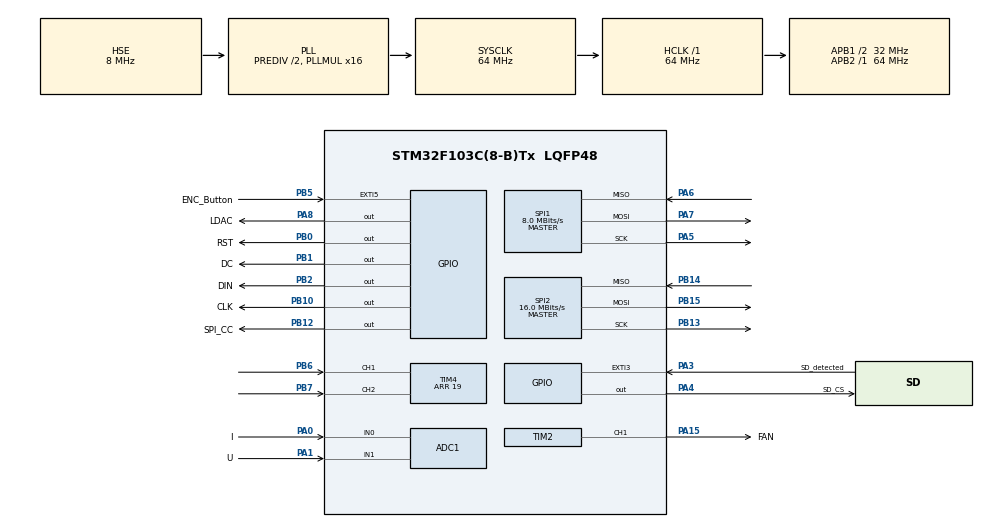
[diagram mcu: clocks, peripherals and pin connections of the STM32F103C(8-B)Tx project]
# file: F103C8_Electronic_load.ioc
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Mcu.Family=STM32F1
PB10.PinState=GPIO_PIN_SET
PA6.Mode=Full_Duplex_Master
FATFS._USE_LFN=1
PB10.GPIO_Speed=GPIO_SPEED_FREQ_HIGH
SPI1.VirtualType=VM_MASTER
SPI2.VirtualType=VM_MASTER
ADC1.ContinuousConvMode=ENABLE
PB2.GPIO_Speed=GPIO_SPEED_FREQ_HIGH
NVIC.EXTI3_IRQn=true\:0\:0\:false\:false\:true\:true\:true
VP_RTC_VS_RTC_Activate.Mode=RTC_Enabled
PB0.GPIO_Label=RST
PB13.Signal=SPI2_SCK
PB15.Signal=SPI2_MOSI
RCC.SYSCLKSource=RCC_SYSCLKSOURCE_PLLCLK
ProjectManager.StackSize=0x400
PD1-OSC_OUT.Signal=RCC_OSC_OUT
NVIC.RTC_IRQn=true\:0\:0\:false\:false\:true\:true\:true
PA15.GPIO_Label=FAN
PB0.PinState=GPIO_PIN_SET
SPI1.Direction=SPI_DIRECTION_2LINES
RCC.HCLKFreq_Value=64000000
RCC.APB2TimFreq_Value=64000000
PB6.Signal=S_TIM4_CH1
Dma.ADC1.0.Direction=DMA_PERIPH_TO_MEMORY
PB12.PinState=GPIO_PIN_SET
SPI1.CalculateBaudRate=8.0 MBits/s
TIM2.ClockDivision=TIM_CLOCKDIVISION_DIV1
Dma.ADC1.0.MemDataAlignment=DMA_MDATAALIGN_HALFWORD
RCC.AHBFreq_Value=64000000
SPI2.BaudRatePrescaler=SPI_BAUDRATEPRESCALER_2
ADC1.Channel-0\#ChannelRegularConversion=ADC_CHANNEL_0
PB2.Signal=GPIO_Output
PB3.Mode=Trace_Asynchronous_SW
RCC.PLLMUL=RCC_PLL_MUL16
PB12.GPIO_Label=SPI_CC
PB1.GPIO_Speed=GPIO_SPEED_FREQ_HIGH
PA14.Mode=Trace_Asynchronous_SW
PB14.Mode=Full_Duplex_Master
PB1.GPIO_Label=DC
Dma.ADC1.0.PeriphInc=DMA_PINC_DISABLE
NVIC.TIM2_IRQn=true\:0\:0\:false\:false\:true\:true\:true
SPI2.CalculateBaudRate=16.0 MBits/s
SH.S_TIM4_CH2.0=TIM4_CH2,Encoder_Interface
PB7.Signal=S_TIM4_CH2
PA8.Signal=GPIO_Output
NVIC.SPI2_IRQn=true\:0\:0\:false\:false\:true\:true\:true
SH.ADCx_IN0.0=ADC1_IN0,IN0
TIM2.Channel-PWM\ Generation1\ CH1=TIM_CHANNEL_1
TIM4.Period=19
ADC1.SamplingTime-0\#ChannelRegularConversion=ADC_SAMPLETIME_55CYCLES_5
Mcu.Package=LQFP48
PB1.Signal=GPIO_Output
PA6.Signal=SPI1_MISO
SPI2.Mode=SPI_MODE_MASTER
PA15.Signal=S_TIM2_CH1_ETR
TIM4.IC1Filter=6
SH.ADCx_IN1.0=ADC1_IN1,IN1
PB5.GPIO_Label=ENC_Button
SH.S_TIM4_CH1.0=TIM4_CH1,Encoder_Interface
RCC.APB1TimFreq_Value=64000000
SPI2.Direction=SPI_DIRECTION_2LINES
PB13.Mode=Full_Duplex_Master
Dma.Request0=ADC1
SPI1.BaudRatePrescaler=SPI_BAUDRATEPRESCALER_8
PA4.GPIO_Label=SD_CS
PA8.PinState=GPIO_PIN_SET
PA3.Signal=GPXTI3
PA5.Mode=Full_Duplex_Master
RCC.PLLSourceVirtual=RCC_PLLSOURCE_HSE
Dma.ADC1.0.Instance=DMA1_Channel1
ADC1.Rank-0\#ChannelRegularConversion=1
PA7.Mode=Full_Duplex_Master
PD1-OSC_OUT.Mode=HSE-External-Oscillator
TIM4.CounterMode=TIM_COUNTERMODE_UP
TIM4.IC2Filter=6
PD0-OSC_IN.Signal=RCC_OSC_IN
RCC.APB1CLKDivider=RCC_HCLK_DIV2
PA0-WKUP.GPIO_Label=I
PA0-WKUP.Signal=ADCx_IN0
PA3.GPIO_ModeDefaultEXTI=GPIO_MODE_IT_RISING_FALLING
PB0.GPIO_Speed=GPIO_SPEED_FREQ_HIGH
RCC.ADCPresc=RCC_ADCPCLK2_DIV8
PA13.Signal=SYS_JTMS-SWDIO
Dma.ADC1.0.PeriphDataAlignment=DMA_PDATAALIGN_HALFWORD
PA8.GPIO_Label=LDAC 
ProjectManager.TargetToolchain=STM32CubeIDE
PB10.GPIO_Label=CLK
Dma.ADC1.0.Mode=DMA_NORMAL
Dma.ADC1.0.Priority=DMA_PRIORITY_LOW
ADC1.Channel-1\#ChannelRegularConversion=ADC_CHANNEL_1
RCC.USBFreq_Value=64000000
PA1.Signal=ADCx_IN1
PB12.GPIO_Speed=GPIO_SPEED_FREQ_HIGH
VP_FATFS_VS_Generic.Mode=User_defined
PD0-OSC_IN.Mode=HSE-External-Oscillator
PB10.Signal=GPIO_Output
PB14.Signal=SPI2_MISO
PA5.Signal=SPI1_SCK
board=custom
PB15.Mode=Full_Duplex_Master
RCC.APB2Freq_Value=64000000
SPI1.Mode=SPI_MODE_MASTER
PA1.GPIO_Label=U
TIM2.Period=2500
ADC1.NbrOfConversion=2
PA13.Mode=Trace_Asynchronous_SW
Mcu.Name=STM32F103C(8-B)Tx
FATFS._MAX_SS=4096
PB3.Signal=SYS_JTDO-TRACESWO
PA4.Signal=GPIO_Output
ADC1.SamplingTime-1\#ChannelRegularConversion=ADC_SAMPLETIME_55CYCLES_5
RCC.SYSCLKFreq_VALUE=64000000
PB5.Signal=GPXTI5
ADC1.master=1
RCC.HSEDivPLL=RCC_HSE_PREDIV_DIV2
ADC1.Rank-1\#ChannelRegularConversion=2
SH.S_TIM2_CH1_ETR.0=TIM2_CH1,PWM Generation1 CH1
NVIC.EXTI9_5_IRQn=true\:0\:0\:false\:false\:true\:true\:true
PA14.Signal=SYS_JTCK-SWCLK
Dma.ADC1.0.MemInc=DMA_MINC_ENABLE
PB2.GPIO_Label=DIN
ProjectManager.HeapSize=0x200
NVIC.PriorityGroup=NVIC_PRIORITYGROUP_4
ADC1.NbrOfConversionFlag=1
SPI2.DataSize=SPI_DATASIZE_16BIT
NVIC.DMA1_Channel1_IRQn=true\:0\:0\:false\:false\:true\:false\:true
NVIC.TIM4_IRQn=true\:0\:0\:false\:false\:true\:true\:true
RCC.APB1Freq_Value=32000000
PB0.Signal=GPIO_Output
PB12.Signal=GPIO_Output
PA3.GPIO_Label=SD_detected
PA7.Signal=SPI1_MOSI

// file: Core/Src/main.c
/* USER CODE BEGIN Header */
/**
  ******************************************************************************
  * @file           : main.c
  * @brief          : Main program body
  ******************************************************************************
  * @attention
  *
  * <h2><center>&copy; Copyright (c) 2021 STMicroelectronics.
  * All rights reserved.</center></h2>
  *
  * This software component is licensed by ST under BSD 3-Clause license,
  * the "License"; You may not use this file except in compliance with the
  * License. You may obtain a copy of the License at:
  *                        opensource.org/licenses/BSD-3-Clause
  *
  ******************************************************************************
  */
/* USER CODE END Header */
#include "main.h"
#include "fatfs.h"

/* USER CODE BEGIN Includes */
#include "Nokia_LCD.h"

#include <string.h>
/* USER CODE END Includes */

/* USER CODE BEGIN PTD */

#define BUF_SIZE 10 //size of buffer for ADC
#define MEASUREMENT_PERIOD 10 //period of writing measurements, seconds

/* USER CODE END PTD */

ADC_HandleTypeDef hadc1;
DMA_HandleTypeDef hdma_adc1;

RTC_HandleTypeDef hrtc;

SPI_HandleTypeDef hspi1;
SPI_HandleTypeDef hspi2;

TIM_HandleTypeDef htim2;
TIM_HandleTypeDef htim4;

/* USER CODE BEGIN PV */

uint8_t cur_menu_pos = 0; //save numbers of click on encoder's button
uint8_t change_value = 0; //1 - change value, 0 - selection position of change
uint16_t count_encoder = 0; //save numbers of rotation of encoder
uint8_t show_menu_flag = 0; //when flag is set, screen updates
uint8_t measurement_over = 0; //flag is set, when the measurement is over
uint8_t sd_detect = 0; //flag that show, have we SD card in device
uint8_t adc_finish = 0; //flag that show that adc end measurement

/*
 * 0 - out current zero (ВЫКЛ)
 * 1 - start (ВКЛ)
 * 2 - measurement of capacity (ИЗМ)
 */
uint8_t mode_of_work = 0;
uint16_t tmp;

//strings for showings data
uint8_t U_sh[9] = {};
uint8_t I_sh[9] = {};

//buffers for sampling data by ADC
// buf_adc[i % 2 == 0] - I
// buf_adc[i % 2 == 1] - U
uint16_t buf_adc[BUF_SIZE * 2] = {};

//sum of elements in the buffer
uint16_t sum_I = 0;
uint16_t sum_U = 0;

//filtered values
uint16_t filtered_I = 0;
uint16_t filtered_U = 0;

//raw values
uint16_t raw_I = 0;
uint16_t raw_U = 0;

//values for protection
uint16_t out_I = 0;
uint16_t minimum_U = 0;

//calibration number for DAC
uint16_t calibration = 0;

//power, that conversion on the transistor
uint32_t transistor_power = 0;

uint32_t byteswritten;
uint32_t U_DAC; //U for sending to DAC
extern char USERPath[4]; // logical drive path

FATFS SDFatFs; //SD card
FIL SD_result_file; //new file on sd card

FRESULT SD_writing_OK; //status of writing on SD

//saving data of measurement
uint16_t array_I[256] = {};
uint16_t array_U[256] = {};

uint16_t measur_count = 0;
uint8_t second_counter = 0;

/*
 * 0 - 11 bits - data
 * 12 - 1
 * 13 - 1
 * 14 - 1
 * 15 - 0
 */
uint16_t DAC_data= 0;
uint16_t counter = 2000;

/* USER CODE END PV */

void SystemClock_Config(void);
static void MX_GPIO_Init(void);
static void MX_DMA_Init(void);
static void MX_ADC1_Init(void);
static void MX_RTC_Init(void);
static void MX_SPI1_Init(void);
static void MX_TIM4_Init(void);
static void MX_TIM2_Init(void);
static void MX_SPI2_Init(void);

int main(void)
{

  /* MCU Configuration--------------------------------------------------------*/

  /* Reset of all peripherals, Initializes the Flash interface and the Systick. */
  HAL_Init();

  /* Configure the system clock */
  SystemClock_Config();

  /* Initialize all configured peripherals */
  MX_GPIO_Init();
  MX_DMA_Init();
  MX_ADC1_Init();
  MX_RTC_Init();
  MX_SPI1_Init();
  MX_TIM4_Init();
  MX_FATFS_Init();
  MX_TIM2_Init();
  MX_SPI2_Init();
  /* USER CODE BEGIN 2 */

  HAL_ADCEx_Calibration_Start(&hadc1);
  HAL_ADC_Start_DMA(&hadc1, (uint32_t*)buf_adc, BUF_SIZE * 2);

  //PWM for FAN
  HAL_TIM_PWM_Init(&htim2);
  HAL_TIM_PWM_Start_IT(&htim2, TIM_CHANNEL_1);
  TIM2->CCR1 = 0;

  HAL_TIM_Encoder_Start_IT(&htim4, TIM_CHANNEL_1);

  sd_detect = (HAL_GPIO_ReadPin(SD_detected_GPIO_Port, SD_detected_Pin)) ? 0 : 1;

  HAL_SPI_Init(&hspi2);

  HAL_RTCEx_SetSecond_IT(&hrtc);

  display_init();

  //disk_initialize(SDFatFs.drv);

  HAL_Delay(500);

  /* USER CODE END 2 */

  /* Infinite loop */
  /* USER CODE BEGIN WHILE */

  while (1)
  {

	if (adc_finish)//if adc end measurement
	{
		//HAL_ADC_Stop_DMA(&hadc1);
		adc_finish = 0;
		sum_U = 0;
		sum_I = 0;
		for (uint8_t i = 0; i < BUF_SIZE * 2; i++)
		{
			if (i % 2)
				sum_U += buf_adc[i];
			else
				sum_I += buf_adc[i];

		}

		filtered_I = sum_I / BUF_SIZE;
		filtered_I = filtered_I * 103 / 1389; // k(middle) = 10.8
		//(330 / 4096) / 10.84

		filtered_U = sum_U / BUF_SIZE;
		filtered_U = filtered_U * 1089 / 2048; //K = 6.6 (330 / 4096 * 6.6)
		//non calibrate

		if (filtered_I < 5)
			calibration = 0;

		if (abs(filtered_I - out_I) >= 1) //10mA
		{

			if (out_I > filtered_I)
			{
				calibration++;
			}
			else
			{
				calibration--;
			}

		}

		//HAL_ADC_Start_DMA(&hadc1, (uint32_t*)buf_adc, BUF_SIZE * 2);
	}

	if (measurement_over) //if measurement of capacity end
	{
	    display_show(3);
		write_res_sd();
	}

	if (show_menu_flag && cur_menu_pos <= 4)
	{
		display_show(1);
		show_menu_flag = 0;
	}
	else if (show_menu_flag && cur_menu_pos > 4)
	{
		display_show(2);
		show_menu_flag = 0;
	}

    /* USER CODE END WHILE */

  }
}

void SystemClock_Config(void)
{
  RCC_OscInitTypeDef RCC_OscInitStruct = {0};
  RCC_ClkInitTypeDef RCC_ClkInitStruct = {0};
  RCC_PeriphCLKInitTypeDef PeriphClkInit = {0};

  /** Initializes the RCC Oscillators according to the specified parameters
  * in the RCC_OscInitTypeDef structure.
  */
  RCC_OscInitStruct.OscillatorType = RCC_OSCILLATORTYPE_LSI|RCC_OSCILLATORTYPE_HSE;
  RCC_OscInitStruct.HSEState = RCC_HSE_ON;
  RCC_OscInitStruct.HSEPredivValue = RCC_HSE_PREDIV_DIV2;
  RCC_OscInitStruct.HSIState = RCC_HSI_ON;
  RCC_OscInitStruct.LSIState = RCC_LSI_ON;
  RCC_OscInitStruct.PLL.PLLState = RCC_PLL_ON;
  RCC_OscInitStruct.PLL.PLLSource = RCC_PLLSOURCE_HSE;
  RCC_OscInitStruct.PLL.PLLMUL = RCC_PLL_MUL16;
  if (HAL_RCC_OscConfig(&RCC_OscInitStruct) != HAL_OK)
  {
    Error_Handler();
  }
  /** Initializes the CPU, AHB and APB buses clocks
  */
  RCC_ClkInitStruct.ClockType = RCC_CLOCKTYPE_HCLK|RCC_CLOCKTYPE_SYSCLK
                              |RCC_CLOCKTYPE_PCLK1|RCC_CLOCKTYPE_PCLK2;
  RCC_ClkInitStruct.SYSCLKSource = RCC_SYSCLKSOURCE_PLLCLK;
  RCC_ClkInitStruct.AHBCLKDivider = RCC_SYSCLK_DIV1;
  RCC_ClkInitStruct.APB1CLKDivider = RCC_HCLK_DIV2;
  RCC_ClkInitStruct.APB2CLKDivider = RCC_HCLK_DIV1;

  if (HAL_RCC_ClockConfig(&RCC_ClkInitStruct, FLASH_LATENCY_2) != HAL_OK)
  {
    Error_Handler();
  }
  PeriphClkInit.PeriphClockSelection = RCC_PERIPHCLK_RTC|RCC_PERIPHCLK_ADC;
  PeriphClkInit.RTCClockSelection = RCC_RTCCLKSOURCE_LSI;
  PeriphClkInit.AdcClockSelection = RCC_ADCPCLK2_DIV8;
  if (HAL_RCCEx_PeriphCLKConfig(&PeriphClkInit) != HAL_OK)
  {
    Error_Handler();
  }
}

static void MX_ADC1_Init(void)
{

  ADC_ChannelConfTypeDef sConfig = {0};

  /** Common config
  */
  hadc1.Instance = ADC1;
  hadc1.Init.ScanConvMode = ADC_SCAN_ENABLE;
  hadc1.Init.ContinuousConvMode = ENABLE;
  hadc1.Init.DiscontinuousConvMode = DISABLE;
  hadc1.Init.ExternalTrigConv = ADC_SOFTWARE_START;
  hadc1.Init.DataAlign = ADC_DATAALIGN_RIGHT;
  hadc1.Init.NbrOfConversion = 2;
  if (HAL_ADC_Init(&hadc1) != HAL_OK)
  {
    Error_Handler();
  }
  /** Configure Regular Channel
  */
  sConfig.Channel = ADC_CHANNEL_0;
  sConfig.Rank = ADC_REGULAR_RANK_1;
  sConfig.SamplingTime = ADC_SAMPLETIME_55CYCLES_5;
  if (HAL_ADC_ConfigChannel(&hadc1, &sConfig) != HAL_OK)
  {
    Error_Handler();
  }
  /** Configure Regular Channel
  */
  sConfig.Channel = ADC_CHANNEL_1;
  sConfig.Rank = ADC_REGULAR_RANK_2;
  if (HAL_ADC_ConfigChannel(&hadc1, &sConfig) != HAL_OK)
  {
    Error_Handler();
  }

}

static void MX_RTC_Init(void)
{

  /** Initialize RTC Only
  */
  hrtc.Instance = RTC;
  hrtc.Init.AsynchPrediv = RTC_AUTO_1_SECOND;
  hrtc.Init.OutPut = RTC_OUTPUTSOURCE_ALARM;
  if (HAL_RTC_Init(&hrtc) != HAL_OK)
  {
    Error_Handler();
  }

}

static void MX_SPI1_Init(void)
{

  /* SPI1 parameter configuration*/
  hspi1.Instance = SPI1;
  hspi1.Init.Mode = SPI_MODE_MASTER;
  hspi1.Init.Direction = SPI_DIRECTION_2LINES;
  hspi1.Init.DataSize = SPI_DATASIZE_8BIT;
  hspi1.Init.CLKPolarity = SPI_POLARITY_LOW;
  hspi1.Init.CLKPhase = SPI_PHASE_1EDGE;
  hspi1.Init.NSS = SPI_NSS_SOFT;
  hspi1.Init.BaudRatePrescaler = SPI_BAUDRATEPRESCALER_8;
  hspi1.Init.FirstBit = SPI_FIRSTBIT_MSB;
  hspi1.Init.TIMode = SPI_TIMODE_DISABLE;
  hspi1.Init.CRCCalculation = SPI_CRCCALCULATION_DISABLE;
  hspi1.Init.CRCPolynomial = 10;
  if (HAL_SPI_Init(&hspi1) != HAL_OK)
  {
    Error_Handler();
  }

}

static void MX_SPI2_Init(void)
{

  /* SPI2 parameter configuration*/
  hspi2.Instance = SPI2;
  hspi2.Init.Mode = SPI_MODE_MASTER;
  hspi2.Init.Direction = SPI_DIRECTION_2LINES;
  hspi2.Init.DataSize = SPI_DATASIZE_16BIT;
  hspi2.Init.CLKPolarity = SPI_POLARITY_LOW;
  hspi2.Init.CLKPhase = SPI_PHASE_1EDGE;
  hspi2.Init.NSS = SPI_NSS_SOFT;
  hspi2.Init.BaudRatePrescaler = SPI_BAUDRATEPRESCALER_2;
  hspi2.Init.FirstBit = SPI_FIRSTBIT_MSB;
  hspi2.Init.TIMode = SPI_TIMODE_DISABLE;
  hspi2.Init.CRCCalculation = SPI_CRCCALCULATION_DISABLE;
  hspi2.Init.CRCPolynomial = 10;
  if (HAL_SPI_Init(&hspi2) != HAL_OK)
  {
    Error_Handler();
  }

}

static void MX_TIM2_Init(void)
{

  TIM_MasterConfigTypeDef sMasterConfig = {0};
  TIM_OC_InitTypeDef sConfigOC = {0};

  htim2.Instance = TIM2;
  htim2.Init.Prescaler = 0;
  htim2.Init.CounterMode = TIM_COUNTERMODE_UP;
  htim2.Init.Period = 2500;
  htim2.Init.ClockDivision = TIM_CLOCKDIVISION_DIV1;
  htim2.Init.AutoReloadPreload = TIM_AUTORELOAD_PRELOAD_DISABLE;
  if (HAL_TIM_PWM_Init(&htim2) != HAL_OK)
  {
    Error_Handler();
  }
  sMasterConfig.MasterOutputTrigger = TIM_TRGO_RESET;
  sMasterConfig.MasterSlaveMode = TIM_MASTERSLAVEMODE_DISABLE;
  if (HAL_TIMEx_MasterConfigSynchronization(&htim2, &sMasterConfig) != HAL_OK)
  {
    Error_Handler();
  }
  sConfigOC.OCMode = TIM_OCMODE_PWM1;
  sConfigOC.Pulse = 0;
  sConfigOC.OCPolarity = TIM_OCPOLARITY_HIGH;
  sConfigOC.OCFastMode = TIM_OCFAST_DISABLE;
  if (HAL_TIM_PWM_ConfigChannel(&htim2, &sConfigOC, TIM_CHANNEL_1) != HAL_OK)
  {
    Error_Handler();
  }
  HAL_TIM_MspPostInit(&htim2);

}

static void MX_TIM4_Init(void)
{

  TIM_Encoder_InitTypeDef sConfig = {0};
  TIM_MasterConfigTypeDef sMasterConfig = {0};

  htim4.Instance = TIM4;
  htim4.Init.Prescaler = 0;
  htim4.Init.CounterMode = TIM_COUNTERMODE_UP;
  htim4.Init.Period = 19;
  htim4.Init.ClockDivision = TIM_CLOCKDIVISION_DIV1;
  htim4.Init.AutoReloadPreload = TIM_AUTORELOAD_PRELOAD_DISABLE;
  sConfig.EncoderMode = TIM_ENCODERMODE_TI1;
  sConfig.IC1Polarity = TIM_ICPOLARITY_RISING;
  sConfig.IC1Selection = TIM_ICSELECTION_DIRECTTI;
  sConfig.IC1Prescaler = TIM_ICPSC_DIV1;
  sConfig.IC1Filter = 6;
  sConfig.IC2Polarity = TIM_ICPOLARITY_RISING;
  sConfig.IC2Selection = TIM_ICSELECTION_DIRECTTI;
  sConfig.IC2Prescaler = TIM_ICPSC_DIV1;
  sConfig.IC2Filter = 6;
  if (HAL_TIM_Encoder_Init(&htim4, &sConfig) != HAL_OK)
  {
    Error_Handler();
  }
  sMasterConfig.MasterOutputTrigger = TIM_TRGO_RESET;
  sMasterConfig.MasterSlaveMode = TIM_MASTERSLAVEMODE_DISABLE;
  if (HAL_TIMEx_MasterConfigSynchronization(&htim4, &sMasterConfig) != HAL_OK)
  {
    Error_Handler();
  }

}

static void MX_DMA_Init(void)
{

  /* DMA controller clock enable */
  __HAL_RCC_DMA1_CLK_ENABLE();

  /* DMA interrupt init */
  /* DMA1_Channel1_IRQn interrupt configuration */
  HAL_NVIC_SetPriority(DMA1_Channel1_IRQn, 0, 0);
  HAL_NVIC_EnableIRQ(DMA1_Channel1_IRQn);

}

static void MX_GPIO_Init(void)
{
  GPIO_InitTypeDef GPIO_InitStruct = {0};

  /* GPIO Ports Clock Enable */
  __HAL_RCC_GPIOD_CLK_ENABLE();
  __HAL_RCC_GPIOA_CLK_ENABLE();
  __HAL_RCC_GPIOB_CLK_ENABLE();

  /*Configure GPIO pin Output Level */
  HAL_GPIO_WritePin(SD_CS_GPIO_Port, SD_CS_Pin, GPIO_PIN_RESET);

  /*Configure GPIO pin Output Level */
  HAL_GPIO_WritePin(GPIOB, RST_Pin|CLK_Pin|SPI_CC_Pin, GPIO_PIN_SET);

  /*Configure GPIO pin Output Level */
  HAL_GPIO_WritePin(GPIOB, DC_Pin|DIN_Pin, GPIO_PIN_RESET);

  /*Configure GPIO pin Output Level */
  HAL_GPIO_WritePin(LDAC_GPIO_Port, LDAC_Pin, GPIO_PIN_SET);

  /*Configure GPIO pin : SD_detected_Pin */
  GPIO_InitStruct.Pin = SD_detected_Pin;
  GPIO_InitStruct.Mode = GPIO_MODE_IT_RISING_FALLING;
  GPIO_InitStruct.Pull = GPIO_NOPULL;
  HAL_GPIO_Init(SD_detected_GPIO_Port, &GPIO_InitStruct);

  /*Configure GPIO pins : SD_CS_Pin LDAC_Pin */
  GPIO_InitStruct.Pin = SD_CS_Pin|LDAC_Pin;
  GPIO_InitStruct.Mode = GPIO_MODE_OUTPUT_PP;
  GPIO_InitStruct.Pull = GPIO_NOPULL;
  GPIO_InitStruct.Speed = GPIO_SPEED_FREQ_LOW;
  HAL_GPIO_Init(GPIOA, &GPIO_InitStruct);

  /*Configure GPIO pins : RST_Pin DC_Pin DIN_Pin CLK_Pin
                           SPI_CC_Pin */
  GPIO_InitStruct.Pin = RST_Pin|DC_Pin|DIN_Pin|CLK_Pin
                          |SPI_CC_Pin;
  GPIO_InitStruct.Mode = GPIO_MODE_OUTPUT_PP;
  GPIO_InitStruct.Pull = GPIO_NOPULL;
  GPIO_InitStruct.Speed = GPIO_SPEED_FREQ_HIGH;
  HAL_GPIO_Init(GPIOB, &GPIO_InitStruct);

  /*Configure GPIO pin : ENC_Button_Pin */
  GPIO_InitStruct.Pin = ENC_Button_Pin;
  GPIO_InitStruct.Mode = GPIO_MODE_IT_RISING;
  GPIO_InitStruct.Pull = GPIO_NOPULL;
  HAL_GPIO_Init(ENC_Button_GPIO_Port, &GPIO_InitStruct);

  /* EXTI interrupt init*/
  HAL_NVIC_SetPriority(EXTI3_IRQn, 0, 0);
  HAL_NVIC_EnableIRQ(EXTI3_IRQn);

  HAL_NVIC_SetPriority(EXTI9_5_IRQn, 0, 0);
  HAL_NVIC_EnableIRQ(EXTI9_5_IRQn);

}

/* USER CODE BEGIN 4 */

void HAL_SPI_TxCpltCallback(SPI_HandleTypeDef* hspi)
{
	HAL_GPIO_WritePin(SPI_CC_GPIO_Port, SPI_CC_Pin, 1);

	HAL_GPIO_WritePin(LDAC_GPIO_Port, LDAC_Pin, 0);
	HAL_GPIO_WritePin(LDAC_GPIO_Port, LDAC_Pin, 1);
}

//Interrupt one time per second from RTC
//sending data to DAC
void HAL_RTCEx_RTCEventCallback(RTC_HandleTypeDef *hrtc)
{
    show_menu_flag = 1;
    second_counter++;

    //0,109i + 4.19
    U_DAC = (out_I * 109 + 4190) / 1000;

    if (out_I != 0 && mode_of_work == 1 || mode_of_work == 2)
    	DAC_data = 28672 + ((uint16_t)U_DAC + 1) * 4096 / 330 + calibration;
    else
    	DAC_data = 28672;

    //DAC_data = 28672 + (out_I + 1) * 4096 / 330;

    //save measurements data
    if (mode_of_work == 2 && second_counter % MEASUREMENT_PERIOD == 0 && !measurement_over)
    {
    	array_I[measur_count] = filtered_I;
    	array_U[measur_count] = filtered_U;

		measur_count++;

		second_counter = 0;

		if (measur_count == 256 || filtered_U < minimum_U)
		{
			measurement_over = 1;
		}
    }

    HAL_GPIO_WritePin(SPI_CC_GPIO_Port, SPI_CC_Pin, 0);
    HAL_SPI_Transmit_IT(&hspi2, (uint8_t*) &DAC_data, 1);

    transistor_power = filtered_I * filtered_U;

    if (transistor_power < 30000)
    {
    	TIM2->CCR1 = 0;
    }
    else if (transistor_power > 80000)
    {
    	TIM2->CCR1 = 2500;
    }
    else
    {
    	//TIM2->CCR1 = transistor_power / 45;
    	TIM2->CCR1 = 1500;
    }

    HAL_ADC_Start_DMA(&hadc1, (uint32_t*)buf_adc, BUF_SIZE * 2);

}

//Data from ADC
//ADC1 - I
//ADC2 - U
void HAL_ADC_ConvCpltCallback(ADC_HandleTypeDef* hadc)
{
    if(hadc->Instance == ADC1) //check if the interrupt comes from ACD1
    {
    	HAL_ADC_Stop(&hadc1);
    	adc_finish = 1;
    }

}

//Processing of the encoder rotation
void HAL_TIM_IC_CaptureCallback(TIM_HandleTypeDef *htim)
{
	if (htim->Instance == TIM4)
	{
		if (change_value)
		{
			calibration = 0;

			count_encoder = __HAL_TIM_GET_COUNTER(htim) / 2 % 10;
			if (!cur_menu_pos)
				show_menu_flag = 1;

			switch (cur_menu_pos)
			{
				case 1:
				{

					mode_of_work = __HAL_TIM_GET_COUNTER(htim) / 2 % 10;

					if (mode_of_work == 2 && !sd_detect)
					{
						mode_of_work = 0;
						TIM4->CNT = 0;
					}

					if (mode_of_work >= 3 && mode_of_work < 5)
					{
						mode_of_work = 0;
						TIM4->CNT = 0;
					}
					else if (mode_of_work >= 3)
					{
						if (sd_detect)
						{
							mode_of_work = 2;
							TIM4->CNT = 4;
						}
						else
						{
							mode_of_work = 1;
							TIM4->CNT = 2;
						}
					}

					show_menu_flag = 1;
					break;
				}
				case 2:
				{
					//count_encoder = __HAL_TIM_GET_COUNTER(htim) / 2 % 10;
					out_I/=10; out_I*=10; out_I+=count_encoder;
					show_menu_flag = 1;
					break;
				}
				case 3:
				{
					//count_encoder = __HAL_TIM_GET_COUNTER(htim) / 2 % 10;
					tmp = out_I / 100;
					out_I %= 10;
					out_I += tmp * 100 + count_encoder * 10;
					show_menu_flag = 1;
					break;
				}
				case 4:
				{
					//count_encoder = __HAL_TIM_GET_COUNTER(htim) / 2 % 10;
					if (count_encoder > 2)
					{
						count_encoder = 2;
						TIM4->CNT = 4;
					}

					out_I %= 100; out_I = out_I + count_encoder * 100;
					show_menu_flag = 1;
					break;
				}

				case 5:
				{
					//count_encoder = __HAL_TIM_GET_COUNTER(htim) / 2 % 10;
					minimum_U/=10; minimum_U*=10; minimum_U+=count_encoder;
					show_menu_flag = 1;
					break;
				}
				case 6:
				{
					//count_encoder = __HAL_TIM_GET_COUNTER(htim) / 2 % 10;
					tmp = minimum_U / 100;
					minimum_U %= 10;
					minimum_U += tmp * 100 + count_encoder * 10;
					show_menu_flag = 1;
					break;
				}
				case 7:
				{
					//count_encoder = __HAL_TIM_GET_COUNTER(htim) / 2 % 10;
					//minimum_U %= 100; minimum_U = minimum_U + count_encoder * 100;
					tmp = minimum_U / 1000;
					minimum_U %= 100;
					minimum_U += tmp * 1000 + count_encoder * 100;
					show_menu_flag = 1;
					break;
				}
				case 8:
				{
					if (count_encoder > 1)
					{
						count_encoder = 1;
						TIM4->CNT = 2;
					}
					//count_encoder = __HAL_TIM_GET_COUNTER(htim) / 2 % 10;
					minimum_U %= 1000; minimum_U = minimum_U + count_encoder * 1000;
					show_menu_flag = 1;
					break;
				}
				case 9:
				{
					display_show(3);
					write_res_sd();
					show_menu_flag = 1;
					change_value = 0;
					break;
				}
			}
		}
		else
		{
			cur_menu_pos = __HAL_TIM_GET_COUNTER(htim) / 2 % 10;

			if (cur_menu_pos > 9)
			{
			  cur_menu_pos = 0;
			  TIM4->CNT = 0;

			}
			else if (cur_menu_pos)
			{
				show_menu_flag = 1;
			}
		}
	}
}

/*
 * type:
 * 1 - draw main window
 * 2 - draw setting menu
 */
void display_show(uint8_t type)
{

	switch (type)
	{
/*-----------PAGE_1--------------*/
		case 1:
		{

			sprintf(U_sh,"U=%d.%02dВ",filtered_U / 100, filtered_U % 100 );
			sprintf(I_sh,"I=%d.%02dА",filtered_I / 100, filtered_I % 100 );
			//10.8

			//sprintf(U_sh,"U=%d.%02dВ",(filtered_U * 330 / 4096) / 100, (filtered_U * 330 / 4096) % 100 );
			//sprintf(I_sh,"I=%d.%02dА",(filtered_I * 330 / 4096) / 100, (filtered_I * 330 / 4096) % 100 );

			display_clear();

			display_set_cursor(0,0);  display_string("Эл. нагрузка");
			display_set_cursor(0,1); display_string("Режим: ");
			display_set_cursor(7,1);

			if (cur_menu_pos != 1)
			{
				switch (mode_of_work)
				{
					case 0:
					{
						display_string("ВЫКЛ");
						break;
					}
					case 1:
					{
						display_string("ВКЛ");
						break;
					}
					case 2:
					{
						display_string("ИЗМ");
						break;
					}
				}
			}
			else
			{
				switch (mode_of_work)
				{
					case 0:
					{
						display_char_underline('В');
						display_set_cursor(8,1);
						display_char_underline('Ы');
						display_set_cursor(9,1);
						display_char_underline('К');
						display_set_cursor(10,1);
						display_char_underline('Л');
						break;
					}
					case 1:
					{
						display_char_underline('В');
						display_set_cursor(8,1);
						display_char_underline('К');
						display_set_cursor(9,1);
						display_char_underline('Л');
						break;
					}
					case 2:
					{
						display_char_underline('И');
						display_set_cursor(8,1);
						display_char_underline('З');
						display_set_cursor(9,1);
						display_char_underline('М');
						break;
					}
				}
			}

			display_set_cursor(0,2);  display_string("I_load=");
			display_set_cursor(7,2);

			if (cur_menu_pos > 1)
			{
				switch (cur_menu_pos)
				{
					case 2:
					{
						display_char( out_I / 100 + 48);
						display_set_cursor(8,2); display_char('.');
						display_set_cursor(9,2); display_char(out_I % 100 / 10 + 48);
						display_set_cursor(10,2); display_char_underline(out_I % 10  + 48);
						break;
					}
					case 3:
					{
						display_char( out_I / 100 + 48);
						display_set_cursor(8,2); display_char('.');
						display_set_cursor(9,2); display_char_underline(out_I % 100 / 10 + 48);
						display_set_cursor(10,2); display_char(out_I % 10  + 48);
						break;
					}
					case 4:
					{
						display_char_underline( out_I / 100 + 48);
						display_set_cursor(8,2); display_char('.');
						display_set_cursor(9,2); display_char(out_I % 100 / 10 + 48);
						display_set_cursor(10,2); display_char(out_I % 10  + 48);
						break;
					}
				}
			}
			else
			{
				display_char( out_I / 100 + 48);
				display_set_cursor(8,2); display_char('.');
				display_set_cursor(9,2); display_char(out_I % 100 / 10 + 48);
				display_set_cursor(10,2); display_char(out_I % 10  + 48);
			}
			display_set_cursor(11,2);	display_char('A');

			display_set_cursor(0,3);  display_string(U_sh);

			display_set_cursor(0,4);  display_string(I_sh);

			display_set_cursor(10,4);
			if (sd_detect)
			{
				display_char('V');//detected
			}
			else
			{
				display_char('X');//not detected
			}

			display_set_cursor(11,4);  display_char(0x80);//sd

			break;
		}

/*-----------PAGE_2--------------*/
		case 2:
		{

			display_clear();

			display_set_cursor(0,0);  display_string("Парам. измер");
			display_set_cursor(0,2);  display_string("U_отс=");
			display_set_cursor(6,2);

			if (cur_menu_pos >= 5 && cur_menu_pos <= 8)
			{
				switch (cur_menu_pos)
				{
					case 5:
					{
						display_char( minimum_U / 1000 + 48);
						display_set_cursor(7,2); display_char( minimum_U / 100 % 10 + 48);
						display_set_cursor(8,2); display_char('.');
						display_set_cursor(9,2); display_char(minimum_U % 100 / 10 + 48);
						display_set_cursor(10,2); display_char_underline(minimum_U % 10  + 48);
						break;
					}
					case 6:
					{
						display_char( minimum_U / 1000 + 48);
						display_set_cursor(7,2); display_char( minimum_U / 100 % 10 + 48);
						display_set_cursor(8,2); display_char('.');
						display_set_cursor(9,2); display_char_underline(minimum_U % 100 / 10 + 48);
						display_set_cursor(10,2); display_char(minimum_U % 10  + 48);
						break;
					}
					case 7:
					{
						display_char( minimum_U / 1000 + 48);
						display_set_cursor(7,2); display_char_underline( minimum_U / 100 % 10 + 48);
						display_set_cursor(8,2); display_char('.');
						display_set_cursor(9,2); display_char(minimum_U % 100 / 10 + 48);
						display_set_cursor(10,2); display_char(minimum_U % 10  + 48);
						break;
					}
					case 8:
					{
						display_char_underline( minimum_U / 1000 + 48);
						display_set_cursor(7,2); display_char( minimum_U / 100 % 10 + 48);
						display_set_cursor(8,2); display_char('.');
						display_set_cursor(9,2); display_char(minimum_U % 100 / 10 + 48);
						display_set_cursor(10,2); display_char(minimum_U % 10  + 48);
						break;
					}
				}
			}
			else
			{
				display_char( minimum_U / 1000 + 48);
				display_set_cursor(7,2); display_char( minimum_U / 100 % 10 + 48);
				display_set_cursor(8,2); display_char('.');
				display_set_cursor(9,2); display_char(minimum_U % 100 / 10 + 48);
				display_set_cursor(10,2); display_char(minimum_U % 10  + 48);
			}

			display_set_cursor(11,2);  display_string("В");

			display_set_cursor(0,4);  display_string("Запись на SD");

			display_set_cursor(4,5);

			if (cur_menu_pos == 9)
			{
				display_char_underline('Д');
				display_set_cursor(5,5);
				display_char_underline('а');
			}
			else
				display_string("Да");

			break;
		}
/*-----------PAGE_3--------------*/
		case 3:
		{
			display_clear();
			display_set_cursor(3,1);
			display_string("Запись");
			display_set_cursor(0,2);
			display_string("результатов");
			display_set_cursor(0,3);
			display_string("на SD карту");
			break;
		}

/*-----------ERRORS--------------*/
		case 4:
		{
			display_clear();
			display_set_cursor(0,0);
			display_string("Ошибка1");
			display_set_cursor(3,1);
			display_string("Запись");
			display_set_cursor(0,2);
			display_string("результатов");
			display_set_cursor(0,3);
			display_string("на SD карту");
			break;
		}
		case 5:
		{
			display_clear();
			display_set_cursor(0,0);
			display_string("Ошибка 2");
			display_set_cursor(3,1);
			display_string("Запись");
			display_set_cursor(0,2);
			display_string("результатов");
			display_set_cursor(0,3);
			display_string("на SD карту");
			break;
		}
		case 6:
		{
			display_clear();
			display_set_cursor(0,0);
			display_string("Ошибка 3");
			display_set_cursor(3,1);
			display_string("Запись");
			display_set_cursor(0,2);
			display_string("результатов");
			display_set_cursor(0,3);
			display_string("на SD карту");
			break;
		}
		case 7:
		{
			display_clear();
			display_set_cursor(0,0);
			display_string("Ошибка 4");
			display_set_cursor(3,1);
			display_string("Запись");
			display_set_cursor(0,2);
			display_string("результатов");
			display_set_cursor(0,3);
			display_string("на SD карту");
			break;
		}

	}
	return;
}

void write_res_sd(void)
{

	/*FATFS SDFatFs; //SD card
	FIL SD_result_file; //new file on sd card*/

	HAL_ADC_Stop_DMA(&hadc1);
	HAL_ADC_Stop(&hadc1);
	HAL_RTCEx_DeactivateSecond(&hrtc);

	HAL_SPI_Abort(&hspi2);
	HAL_TIM_Encoder_Stop_IT(&htim4, TIM_CHANNEL_1);
	HAL_TIM_PWM_Stop_IT(&htim2, TIM_CHANNEL_1);

	if (!sd_ini() && sd_detect) //
	{
		sd_ini();
		disk_initialize(SDFatFs.drv);

		//write
		if(f_mount(&SDFatFs,(TCHAR const*)USERPath,0) != FR_OK)
		{
		  //Error_Handler();
		  display_show(4);
		}
		else
		{
		  if(f_open(&SD_result_file,"result.txt",FA_CREATE_ALWAYS|FA_WRITE)!=FR_OK)
		  {
			  //Error_Handler();
			  display_show(5);
		  }
		  else
		  {
			  //write data to file
			  SD_writing_OK = f_write(&SD_result_file, "I,X.xxA ; U,X.xxB\n", 18, (void*)&byteswritten);
			  uint8_t tmp_text_SD[35] = {};
			  sprintf(tmp_text_SD, "Период измерений %d, с\n", MEASUREMENT_PERIOD);
			  tmp_text_SD[34] = '\n';
			  SD_writing_OK = f_write(&SD_result_file, tmp_text_SD, sizeof(tmp_text_SD), (void*)&byteswritten);

			  for (uint16_t i = 0; i < measur_count; i++)
			  {
				  uint8_t text_SD[40] = {};
				  sprintf(text_SD, "%d,%d;%d,%d", array_I[i]/100, array_I[i]%100, array_U[i]/100, array_U[i]%100);
				  text_SD[38] = '\r'; text_SD[39] = '\n';

				  SD_writing_OK = f_write(&SD_result_file, text_SD, sizeof(text_SD), (void*)&byteswritten);
			  }

			  if( (byteswritten==0) || (SD_writing_OK!=FR_OK) )
			  {
				  //Error_Handler();
				  display_show(6);
			  }

			  f_close(&SD_result_file);
		  }

		}
		measurement_over = 0;
		mode_of_work = 0;
	}

	HAL_RTCEx_SetSecond_IT(&hrtc);
	HAL_ADC_Start_DMA(&hadc1, (uint32_t*)buf_adc, BUF_SIZE * 2);
	HAL_SPI_Init(&hspi2);
	HAL_TIM_Encoder_Start_IT(&htim4, TIM_CHANNEL_1);
	HAL_TIM_PWM_Start_IT(&htim2, TIM_CHANNEL_1);

	return;
}

/* USER CODE END 4 */

void Error_Handler(void)
{
  __disable_irq();
  while (1)
  {
  }
}

/************************ (C) COPYRIGHT STMicroelectronics *****END OF FILE****/
